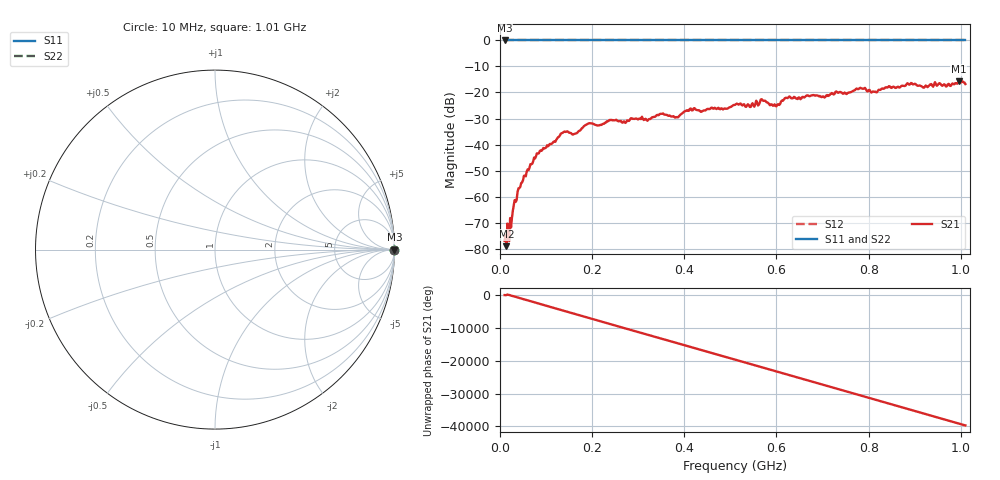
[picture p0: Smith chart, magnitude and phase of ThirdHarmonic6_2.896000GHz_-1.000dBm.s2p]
! 8/17/2025 7:59:22 AM
! C:\ANRITSUVNA\TEMP\TEMP.S2P
! CHANNEL.1
! TR.MEASUREMENT
! RAW.DATA
! RF.CORRECTION.OFF
! AVERAGING.OFF
! IF.BANDWIDTH: 5KHZ
! SWEEPTYPE:  FREQ.SWEEP(Linear)
! Reference Plane Port Info
! PORT:  PORT1  PORT2
! DISTANCE:  0  m  0  m
! TIME:  0  s  0  s
! PHASE.OFFSET:  0  deg.  0  deg.
! LOSS:  0  dB  0  dB
! REF.LOSS:  0  dB  0  dB
! REF.FREQ:  0  Hz  0  Hz
! Power Info
! POWER:  -20  dBm  -20  dBm
! EFF.POWER:  -20  dBm  -20  dBm
! SOURCE.ATTEN:  0  dB  0  dB
! TEST.ATTEN:  0  dB  0  dB
# GHZ S RI R 50.0
! FREQ.GHZ  S11RE  S11IM  S21RE  S21IM  S12RE  S12IM  S22RE  S22IM
!; PortSelection: Port_12
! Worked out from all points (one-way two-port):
!   501 points, 10 MHz to 1.01 GHz, reference 50 ohm
!   highest |S21| = -15.68 dB at 996 MHz (marker M1); lowest = -79.1 dB at 14 MHz (marker M2)
!   lowest |S11| = 0.0 dB at 10 MHz (marker M3)
!   |S11| at or under -10 dB: nowhere
!   |S22| runs from 0.0 to 0.0 dB; largest |S21 - S12| = 1.2
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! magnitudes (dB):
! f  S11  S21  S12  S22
! 10 MHz  0.0  -77.0  0.0  0.0
! 14 MHz  0.0  -79.1  0.0  0.0
! 22 MHz  0.0  -68.3  0.0  0.0
! 30 MHz  0.0  -63.1  0.0  0.0
! 42 MHz  0.0  -56.7  0.0  0.0
! 78 MHz  0.0  -44.6  0.0  0.0
! 136 MHz  0.0  -35.5  0.0  0.0
! 162 MHz  0.0  -35.9  0.0  0.0
! 178 MHz  0.0  -33.7  0.0  0.0
! 194 MHz  0.0  -31.8  0.0  0.0
! 344 MHz  0.0  -28.7  0.0  0.0
! 384 MHz  0.0  -29.5  0.0  0.0
! 410 MHz  0.0  -27.0  0.0  0.0
! 510 MHz  0.0  -24.7  0.0  0.0
! 548 MHz  0.0  -24.1  0.0  0.0
! 570 MHz  0.0  -23.0  0.0  0.0
! 596 MHz  0.0  -24.6  0.0  0.0
! 624 MHz  0.0  -22.2  0.0  0.0
! 678 MHz  0.0  -21.1  0.0  0.0
! 844 MHz  0.0  -17.6  0.0  0.0
! 996 MHz  0.0  -15.7  0.0  0.0
! 1.01 GHz  0.0  -16.8  0.0  0.0
